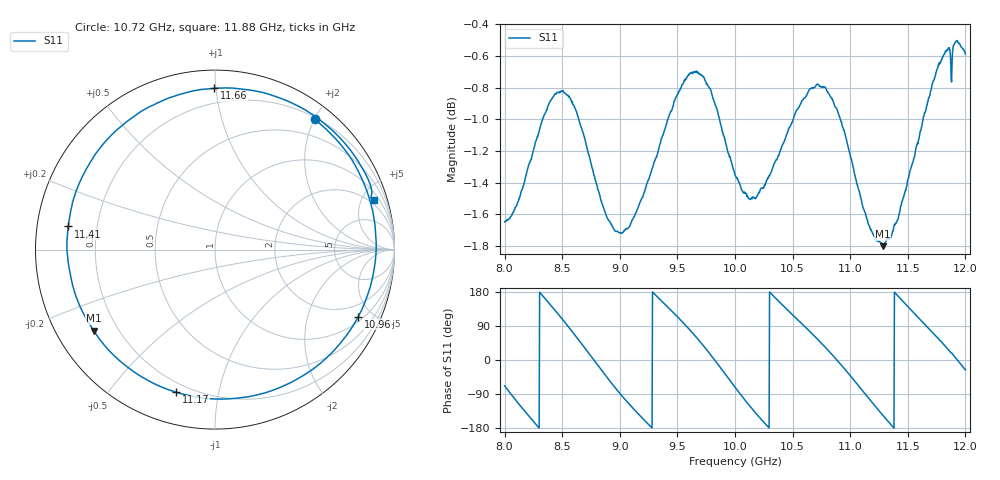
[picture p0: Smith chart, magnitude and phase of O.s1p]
!Keysight Technologies,N5224A,MY56042273,A.10.60.03
!Date: Wednesday, June 05, 2024 12:08:26
!Correction: S11(Full 1 Port(1))
!S1P File: Measurement: S11:
# Hz S  RI  R 50
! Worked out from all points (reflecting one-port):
!   1001 points, 8 GHz to 12 GHz, reference 50 ohm
!   lowest |S11| = -1.8 dB at 11.28 GHz (marker M1), VSWR 9.68, Z = 5.64 - j15 ohm
!   phase of S11 starts at -68 deg and turns -1398 deg over the sweep
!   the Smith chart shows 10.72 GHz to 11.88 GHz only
!   S11 on the Smith chart (normalised r, x): 10.72 GHz: 0.23, +2.00; 10.96 GHz: 1.24, -4.15; 11.17 GHz: 0.15, -0.75; 11.41 GHz: 0.09, +0.08; 11.66 GHz: 0.11, +0.99; 11.88 GHz: 1.53, +6.13
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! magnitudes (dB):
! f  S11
! 8 GHz  -1.6
! 8.116 GHz  -1.5
! 8.384 GHz  -0.9
! 8.5 GHz  -0.8
! 8.624 GHz  -1.0
! 8.884 GHz  -1.6
! 9 GHz  -1.7
! 9.144 GHz  -1.6
! 9.5 GHz  -0.8
! 9.608 GHz  -0.7
! 9.724 GHz  -0.7
! 9.804 GHz  -0.9
! 10 GHz  -1.4
! 10.18 GHz  -1.5
! 10.5 GHz  -1.0
! 10.72 GHz  -0.8
! 10.84 GHz  -0.9
! 10.96 GHz  -1.1
! 11 GHz  -1.2
! 11.17 GHz  -1.7
! 11.28 GHz  -1.8
! 11.41 GHz  -1.6
! 11.5 GHz  -1.4
! 11.66 GHz  -0.9
! 11.78 GHz  -0.6
! 11.88 GHz  -0.7
! 11.92 GHz  -0.5
! 12 GHz  -0.6
